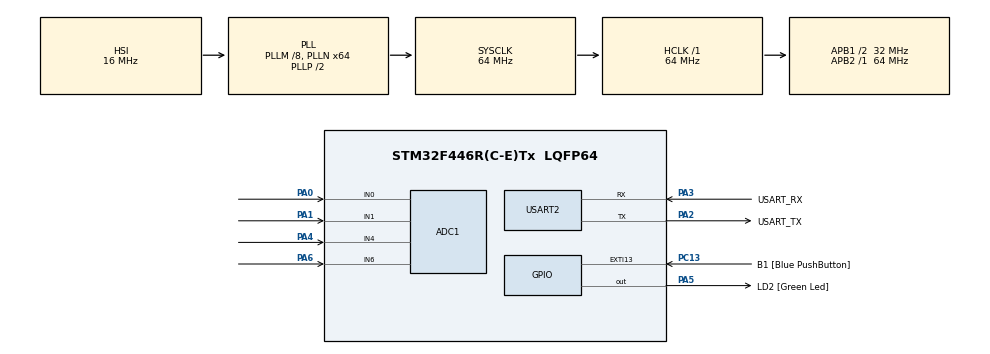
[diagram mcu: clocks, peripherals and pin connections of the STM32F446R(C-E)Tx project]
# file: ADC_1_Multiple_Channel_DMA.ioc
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ADC1.Channel-0\#ChannelRegularConversion=ADC_CHANNEL_0
ADC1.ContinuousConvMode=ENABLE
ADC1.DMAContinuousRequests=DISABLE
ADC1.EOCSelection=ADC_EOC_SEQ_CONV
ADC1.NbrOfConversionFlag=1
ADC1.Rank-0\#ChannelRegularConversion=1
ADC1.SamplingTime-0\#ChannelRegularConversion=ADC_SAMPLETIME_480CYCLES
ADC1.master=1
Dma.ADC1.0.Direction=DMA_PERIPH_TO_MEMORY
Dma.ADC1.0.FIFOMode=DMA_FIFOMODE_DISABLE
Dma.ADC1.0.Instance=DMA2_Stream0
Dma.ADC1.0.MemDataAlignment=DMA_MDATAALIGN_HALFWORD
Dma.ADC1.0.MemInc=DMA_MINC_ENABLE
Dma.ADC1.0.Mode=DMA_NORMAL
Dma.ADC1.0.PeriphDataAlignment=DMA_PDATAALIGN_HALFWORD
Dma.ADC1.0.PeriphInc=DMA_PINC_DISABLE
Dma.ADC1.0.Priority=DMA_PRIORITY_LOW
Dma.Request0=ADC1
Mcu.Family=STM32F4
Mcu.Name=STM32F446R(C-E)Tx
Mcu.Package=LQFP64
NVIC.ADC_IRQn=true\:0\:0\:false\:false\:true\:true\:true\:true
NVIC.DMA2_Stream0_IRQn=true\:0\:0\:false\:false\:true\:false\:true\:true
NVIC.PriorityGroup=NVIC_PRIORITYGROUP_0
PA0-WKUP.Signal=ADCx_IN0
PA1.Signal=ADCx_IN1
PA13.GPIO_Label=TMS
PA13.Mode=Serial_Wire
PA13.Signal=SYS_JTMS-SWDIO
PA14.GPIO_Label=TCK
PA14.Mode=Serial_Wire
PA14.Signal=SYS_JTCK-SWCLK
PA2.GPIO_Label=USART_TX
PA2.Mode=Asynchronous
PA2.Signal=USART2_TX
PA3.GPIO_Label=USART_RX
PA3.Mode=Asynchronous
PA3.Signal=USART2_RX
PA4.Signal=ADCx_IN4
PA5.GPIO_Label=LD2 [Green Led]
PA5.Signal=GPIO_Output
PA6.Signal=ADCx_IN6
PB3.GPIO_Label=SWO
PB3.Signal=SYS_JTDO-SWO
PC13.GPIO_Label=B1 [Blue PushButton]
PC13.GPIO_ModeDefaultEXTI=GPIO_MODE_IT_FALLING
PC13.Signal=GPXTI13
PC14-OSC32_IN.Mode=LSE-External-Oscillator
PC14-OSC32_IN.Signal=RCC_OSC32_IN
PC15-OSC32_OUT.Mode=LSE-External-Oscillator
PC15-OSC32_OUT.Signal=RCC_OSC32_OUT
PH0-OSC_IN.Mode=HSE-External-Oscillator
PH0-OSC_IN.Signal=RCC_OSC_IN
PH1-OSC_OUT.Mode=HSE-External-Oscillator
PH1-OSC_OUT.Signal=RCC_OSC_OUT
ProjectManager.HeapSize=0x200
ProjectManager.StackSize=0x400
ProjectManager.TargetToolchain=STM32CubeIDE
RCC.48MHZClocksFreq_Value=84000000
RCC.AHBFreq_Value=64000000
RCC.APB1CLKDivider=RCC_HCLK_DIV2
RCC.APB1Freq_Value=32000000
RCC.APB1TimFreq_Value=64000000
RCC.APB2Freq_Value=64000000
RCC.APB2TimFreq_Value=64000000
RCC.CortexFreq_Value=64000000
RCC.FLatency-AdvancedSettings=FLASH_LATENCY_2
RCC.HCLKFreq_Value=64000000
RCC.HSE_VALUE=8000000
RCC.HSI_VALUE=16000000
RCC.PLLM=8
RCC.PLLN=64
RCC.SYSCLKFreq_VALUE=64000000
RCC.SYSCLKSource=RCC_SYSCLKSOURCE_PLLCLK
RCC.USBFreq_Value=64000000
RCC.VCOOutputFreq_Value=128000000
SH.ADCx_IN0.0=ADC1_IN0,IN0
SH.ADCx_IN1.0=ADC1_IN1,IN1
SH.ADCx_IN4.0=ADC1_IN4,IN4
SH.ADCx_IN6.0=ADC1_IN6,IN6
USART2.VirtualMode=VM_ASYNC
board=NUCLEO-F446RE

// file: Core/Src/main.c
/* USER CODE BEGIN Header */
/**
  ******************************************************************************
  * @file           : main.c
  * @brief          : Main program body
  ******************************************************************************
  * @attention
  *
  * Copyright (c) 2024 STMicroelectronics.
  * All rights reserved.
  *
  * This software is licensed under terms that can be found in the LICENSE file
  * in the root directory of this software component.
  * If no LICENSE file comes with this software, it is provided AS-IS.
  *
  ******************************************************************************
  */
/* USER CODE END Header */
#include "main.h"

/* USER CODE BEGIN Includes */
#include <stdbool.h>
/* USER CODE END Includes */

ADC_HandleTypeDef hadc1;
DMA_HandleTypeDef hdma_adc1;

UART_HandleTypeDef huart2;

/* USER CODE BEGIN PV */
uint32_t adc_buffer[4];
uint8_t flag = 0;
uint16_t pot1 = 0;
uint16_t pot2 = 0;
uint16_t pot3 = 0;
uint16_t pot4 = 0;
/* USER CODE END PV */

void SystemClock_Config(void);
static void MX_GPIO_Init(void);
static void MX_DMA_Init(void);
static void MX_USART2_UART_Init(void);
static void MX_ADC1_Init(void);
/* USER CODE BEGIN PFP */

void channel_config(uint32_t ch) {

  ADC_ChannelConfTypeDef sConfig = {0};

  sConfig.Channel = ch;
  sConfig.Rank = 1;
  sConfig.SamplingTime = ADC_SAMPLETIME_112CYCLES;
  if (HAL_ADC_ConfigChannel(&hadc1, &sConfig) != HAL_OK)
  {
	Error_Handler();
  }
}
/* USER CODE END PFP */

/* USER CODE BEGIN 0 */

int adc_counter = 0;
uint32_t channel_sel[] = {ADC_CHANNEL_0, ADC_CHANNEL_1, ADC_CHANNEL_4,ADC_CHANNEL_6};
bool Adc_cptl_conv = 0;
void HAL_ADC_ConvCpltCallback(ADC_HandleTypeDef* hadc)
{
  Adc_cptl_conv = 1;
  adc_counter++;

  if(adc_counter > 3)
  {
    adc_counter = 0;
  }

  channel_config(channel_sel[adc_counter]);

  // Start the next ADC conversion with DMA
  HAL_ADC_Start_DMA(&hadc1, &adc_buffer[adc_counter], 1);
}

/* USER CODE END 0 */

int main(void)
{

  /* MCU Configuration--------------------------------------------------------*/

  /* Reset of all peripherals, Initializes the Flash interface and the Systick. */
  HAL_Init();

  /* Configure the system clock */
  SystemClock_Config();

  /* Initialize all configured peripherals */
  MX_GPIO_Init();
  MX_DMA_Init();
  MX_USART2_UART_Init();
  MX_ADC1_Init();
  /* USER CODE BEGIN 2 */
  channel_config(channel_sel[adc_counter]);
  HAL_ADC_Start_DMA(&hadc1, &adc_buffer[adc_counter], 1);

//  HAL_ADC_Start_IT(&hadc1);
  /* USER CODE END 2 */

  /* Infinite loop */
  /* USER CODE BEGIN WHILE */
  while (1)
  {
	  if(Adc_cptl_conv) {

		  pot1 = (uint16_t)adc_buffer[0];
		  pot2 = (uint16_t)adc_buffer[1];
		  pot3 = (uint16_t)adc_buffer[2];
		  pot4 = (uint16_t)adc_buffer[3];

		  if(pot1 > 2000) {

			  HAL_GPIO_WritePin(LD2_GPIO_Port,LD2_Pin, 1);
		  }
		  else{

			  HAL_GPIO_WritePin(LD2_GPIO_Port,LD2_Pin, 0);
		  }
		  Adc_cptl_conv = 0;
	  }

    /* USER CODE END WHILE */

  }
}

void SystemClock_Config(void)
{
  RCC_OscInitTypeDef RCC_OscInitStruct = {0};
  RCC_ClkInitTypeDef RCC_ClkInitStruct = {0};

  /** Configure the main internal regulator output voltage
  */
  __HAL_RCC_PWR_CLK_ENABLE();
  __HAL_PWR_VOLTAGESCALING_CONFIG(PWR_REGULATOR_VOLTAGE_SCALE3);

  /** Initializes the RCC Oscillators according to the specified parameters
  * in the RCC_OscInitTypeDef structure.
  */
  RCC_OscInitStruct.OscillatorType = RCC_OSCILLATORTYPE_HSI;
  RCC_OscInitStruct.HSIState = RCC_HSI_ON;
  RCC_OscInitStruct.HSICalibrationValue = RCC_HSICALIBRATION_DEFAULT;
  RCC_OscInitStruct.PLL.PLLState = RCC_PLL_ON;
  RCC_OscInitStruct.PLL.PLLSource = RCC_PLLSOURCE_HSI;
  RCC_OscInitStruct.PLL.PLLM = 8;
  RCC_OscInitStruct.PLL.PLLN = 64;
  RCC_OscInitStruct.PLL.PLLP = RCC_PLLP_DIV2;
  RCC_OscInitStruct.PLL.PLLQ = 2;
  RCC_OscInitStruct.PLL.PLLR = 2;
  if (HAL_RCC_OscConfig(&RCC_OscInitStruct) != HAL_OK)
  {
    Error_Handler();
  }

  /** Initializes the CPU, AHB and APB buses clocks
  */
  RCC_ClkInitStruct.ClockType = RCC_CLOCKTYPE_HCLK|RCC_CLOCKTYPE_SYSCLK
                              |RCC_CLOCKTYPE_PCLK1|RCC_CLOCKTYPE_PCLK2;
  RCC_ClkInitStruct.SYSCLKSource = RCC_SYSCLKSOURCE_PLLCLK;
  RCC_ClkInitStruct.AHBCLKDivider = RCC_SYSCLK_DIV1;
  RCC_ClkInitStruct.APB1CLKDivider = RCC_HCLK_DIV2;
  RCC_ClkInitStruct.APB2CLKDivider = RCC_HCLK_DIV1;

  if (HAL_RCC_ClockConfig(&RCC_ClkInitStruct, FLASH_LATENCY_2) != HAL_OK)
  {
    Error_Handler();
  }
}

static void MX_ADC1_Init(void)
{

  ADC_ChannelConfTypeDef sConfig = {0};

  /** Configure the global features of the ADC (Clock, Resolution, Data Alignment and number of conversion)
  */
  hadc1.Instance = ADC1;
  hadc1.Init.ClockPrescaler = ADC_CLOCK_SYNC_PCLK_DIV2;
  hadc1.Init.Resolution = ADC_RESOLUTION_12B;
  hadc1.Init.ScanConvMode = DISABLE;
  hadc1.Init.ContinuousConvMode = ENABLE;
  hadc1.Init.DiscontinuousConvMode = DISABLE;
  hadc1.Init.ExternalTrigConvEdge = ADC_EXTERNALTRIGCONVEDGE_NONE;
  hadc1.Init.ExternalTrigConv = ADC_SOFTWARE_START;
  hadc1.Init.DataAlign = ADC_DATAALIGN_RIGHT;
  hadc1.Init.NbrOfConversion = 1;
  hadc1.Init.DMAContinuousRequests = DISABLE;
  hadc1.Init.EOCSelection = ADC_EOC_SEQ_CONV;
  if (HAL_ADC_Init(&hadc1) != HAL_OK)
  {
    Error_Handler();
  }

  /** Configure for the selected ADC regular channel its corresponding rank in the sequencer and its sample time.
  */
  sConfig.Channel = ADC_CHANNEL_0;
  sConfig.Rank = 1;
  sConfig.SamplingTime = ADC_SAMPLETIME_480CYCLES;
  if (HAL_ADC_ConfigChannel(&hadc1, &sConfig) != HAL_OK)
  {
    Error_Handler();
  }

}

static void MX_USART2_UART_Init(void)
{

  huart2.Instance = USART2;
  huart2.Init.BaudRate = 115200;
  huart2.Init.WordLength = UART_WORDLENGTH_8B;
  huart2.Init.StopBits = UART_STOPBITS_1;
  huart2.Init.Parity = UART_PARITY_NONE;
  huart2.Init.Mode = UART_MODE_TX_RX;
  huart2.Init.HwFlowCtl = UART_HWCONTROL_NONE;
  huart2.Init.OverSampling = UART_OVERSAMPLING_16;
  if (HAL_UART_Init(&huart2) != HAL_OK)
  {
    Error_Handler();
  }

}

static void MX_DMA_Init(void)
{

  /* DMA controller clock enable */
  __HAL_RCC_DMA2_CLK_ENABLE();

  /* DMA interrupt init */
  /* DMA2_Stream0_IRQn interrupt configuration */
  HAL_NVIC_SetPriority(DMA2_Stream0_IRQn, 0, 0);
  HAL_NVIC_EnableIRQ(DMA2_Stream0_IRQn);

}

static void MX_GPIO_Init(void)
{
  GPIO_InitTypeDef GPIO_InitStruct = {0};

  /* GPIO Ports Clock Enable */
  __HAL_RCC_GPIOC_CLK_ENABLE();
  __HAL_RCC_GPIOH_CLK_ENABLE();
  __HAL_RCC_GPIOA_CLK_ENABLE();
  __HAL_RCC_GPIOB_CLK_ENABLE();

  /*Configure GPIO pin Output Level */
  HAL_GPIO_WritePin(LD2_GPIO_Port, LD2_Pin, GPIO_PIN_RESET);

  /*Configure GPIO pin : B1_Pin */
  GPIO_InitStruct.Pin = B1_Pin;
  GPIO_InitStruct.Mode = GPIO_MODE_IT_FALLING;
  GPIO_InitStruct.Pull = GPIO_NOPULL;
  HAL_GPIO_Init(B1_GPIO_Port, &GPIO_InitStruct);

  /*Configure GPIO pin : LD2_Pin */
  GPIO_InitStruct.Pin = LD2_Pin;
  GPIO_InitStruct.Mode = GPIO_MODE_OUTPUT_PP;
  GPIO_InitStruct.Pull = GPIO_NOPULL;
  GPIO_InitStruct.Speed = GPIO_SPEED_FREQ_LOW;
  HAL_GPIO_Init(LD2_GPIO_Port, &GPIO_InitStruct);

}

void Error_Handler(void)
{
  __disable_irq();
  while (1)
  {
  }
}
